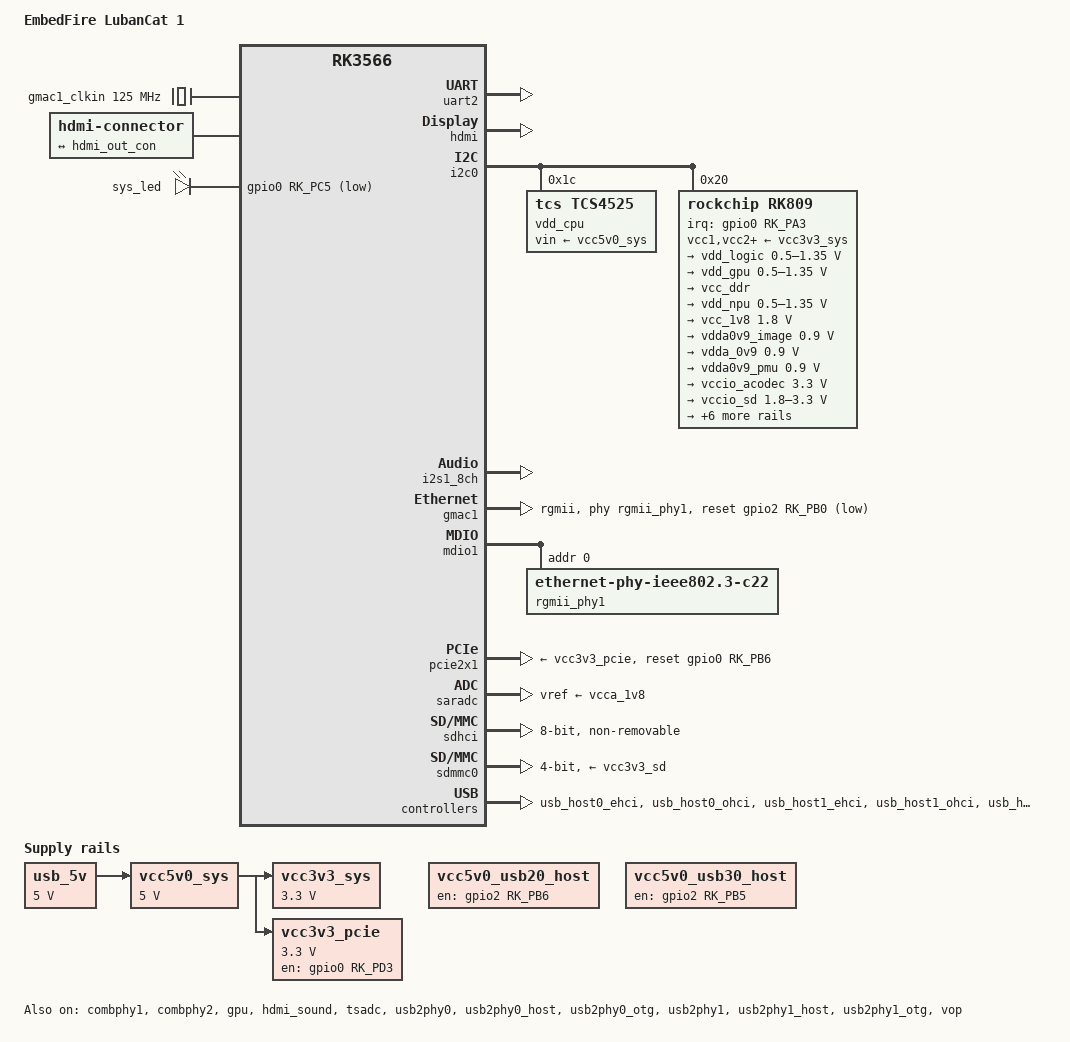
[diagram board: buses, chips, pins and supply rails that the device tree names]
// SPDX-License-Identifier: (GPL-2.0+ OR MIT)

/dts-v1/;
#include <dt-bindings/gpio/gpio.h>
#include <dt-bindings/leds/common.h>
#include <dt-bindings/pinctrl/rockchip.h>
#include <dt-bindings/soc/rockchip,vop2.h>
#include "rk3566.dtsi"

/ {
	model = "EmbedFire LubanCat 1";
	compatible = "embedfire,lubancat-1", "rockchip,rk3566";

	aliases {
		ethernet0 = &gmac1;
		mmc0 = &sdmmc0;
		mmc1 = &sdhci;
	};

	chosen: chosen {
		stdout-path = "serial2:1500000n8";
	};

	gmac1_clkin: external-gmac1-clock {
		compatible = "fixed-clock";
		clock-frequency = <125000000>;
		clock-output-names = "gmac1_clkin";
		#clock-cells = <0>;
	};

	hdmi-con {
		compatible = "hdmi-connector";
		type = "a";

		port {
			hdmi_con_in: endpoint {
				remote-endpoint = <&hdmi_out_con>;
			};
		};
	};

	gpio-leds {
		compatible = "gpio-leds";

		sys_led: sys-led {
			label = "sys_led";
			linux,default-trigger = "heartbeat";
			default-state = "on";
			gpios = <&gpio0 RK_PC5 GPIO_ACTIVE_LOW>;
			pinctrl-names = "default";
			pinctrl-0 = <&sys_led_pin>;
		};
	};

	usb_5v: usb-5v-regulator {
		compatible = "regulator-fixed";
		regulator-name = "usb_5v";
		regulator-always-on;
		regulator-boot-on;
		regulator-min-microvolt = <5000000>;
		regulator-max-microvolt = <5000000>;
	};

	vcc5v0_sys: vcc5v0-sys-regulator {
		compatible = "regulator-fixed";
		regulator-name = "vcc5v0_sys";
		regulator-always-on;
		regulator-boot-on;
		regulator-min-microvolt = <5000000>;
		regulator-max-microvolt = <5000000>;
		vin-supply = <&usb_5v>;
	};

	vcc3v3_sys: vcc3v3-sys-regulator {
		compatible = "regulator-fixed";
		regulator-name = "vcc3v3_sys";
		regulator-always-on;
		regulator-boot-on;
		regulator-min-microvolt = <3300000>;
		regulator-max-microvolt = <3300000>;
		vin-supply = <&vcc5v0_sys>;
	};

	vcc3v3_pcie: vcc3v3-pcie-regulator {
		compatible = "regulator-fixed";
		regulator-name = "vcc3v3_pcie";
		regulator-min-microvolt = <3300000>;
		regulator-max-microvolt = <3300000>;
		enable-active-high;
		gpio = <&gpio0 RK_PD3 GPIO_ACTIVE_HIGH>;
		startup-delay-us = <5000>;
		vin-supply = <&vcc5v0_sys>;
	};

	vcc5v0_usb20_host: vcc5v0-usb20-host-regulator {
		compatible = "regulator-fixed";
		enable-active-high;
		gpio = <&gpio2 RK_PB6 GPIO_ACTIVE_HIGH>;
		pinctrl-names = "default";
		pinctrl-0 = <&vcc5v0_usb20_host_en>;
		regulator-name = "vcc5v0_usb20_host";
		regulator-always-on;
	};

	vcc5v0_usb30_host: vcc5v0-usb30-host-regulator {
		compatible = "regulator-fixed";
		enable-active-high;
		gpio = <&gpio2 RK_PB5 GPIO_ACTIVE_HIGH>;
		pinctrl-names = "default";
		pinctrl-0 = <&vcc5v0_usb30_host_en>;
		regulator-name = "vcc5v0_usb30_host";
		regulator-always-on;
	};
};

&uart2 {
	status = "okay";
};

&combphy1 {
	status = "okay";
};

&combphy2 {
	status = "okay";
};

&cpu0 {
	cpu-supply = <&vdd_cpu>;
};

&cpu1 {
	cpu-supply = <&vdd_cpu>;
};

&cpu2 {
	cpu-supply = <&vdd_cpu>;
};

&cpu3 {
	cpu-supply = <&vdd_cpu>;
};

&gpu {
	mali-supply = <&vdd_gpu>;
	status = "okay";
};

&hdmi {
	avdd-0v9-supply = <&vdda0v9_image>;
	avdd-1v8-supply = <&vcca1v8_image>;
	status = "okay";
};

&hdmi_in {
	hdmi_in_vp0: endpoint {
		remote-endpoint = <&vp0_out_hdmi>;
	};
};

&hdmi_out {
	hdmi_out_con: endpoint {
		remote-endpoint = <&hdmi_con_in>;
	};
};

&hdmi_sound {
	status = "okay";
};

&i2c0 {
	status = "okay";

	vdd_cpu: regulator@1c {
		compatible = "tcs,tcs4525";
		reg = <0x1c>;
		fcs,suspend-voltage-selector = <1>;
		regulator-name = "vdd_cpu";
		regulator-always-on;
		regulator-boot-on;
		regulator-min-microvolt = <800000>;
		regulator-max-microvolt = <1150000>;
		regulator-ramp-delay = <2300>;
		vin-supply = <&vcc5v0_sys>;

		regulator-state-mem {
			regulator-off-in-suspend;
		};
	};

	rk809: pmic@20 {
		compatible = "rockchip,rk809";
		reg = <0x20>;
		interrupt-parent = <&gpio0>;
		interrupts = <RK_PA3 IRQ_TYPE_LEVEL_LOW>;
		clock-output-names = "rk808-clkout1", "rk808-clkout2";

		pinctrl-names = "default";
		pinctrl-0 = <&pmic_int>;
		rockchip,system-power-controller;
		wakeup-source;
		#clock-cells = <1>;

		vcc1-supply = <&vcc3v3_sys>;
		vcc2-supply = <&vcc3v3_sys>;
		vcc3-supply = <&vcc3v3_sys>;
		vcc4-supply = <&vcc3v3_sys>;
		vcc5-supply = <&vcc3v3_sys>;
		vcc6-supply = <&vcc3v3_sys>;
		vcc7-supply = <&vcc3v3_sys>;
		vcc8-supply = <&vcc3v3_sys>;
		vcc9-supply = <&vcc3v3_sys>;

		regulators {
			vdd_logic: DCDC_REG1 {
				regulator-name = "vdd_logic";
				regulator-always-on;
				regulator-boot-on;
				regulator-min-microvolt = <500000>;
				regulator-max-microvolt = <1350000>;
				regulator-ramp-delay = <6001>;
				regulator-initial-mode = <0x2>;

				regulator-state-mem {
					regulator-off-in-suspend;
				};
			};

			vdd_gpu: DCDC_REG2 {
				regulator-name = "vdd_gpu";
				regulator-always-on;
				regulator-boot-on;
				regulator-min-microvolt = <500000>;
				regulator-max-microvolt = <1350000>;
				regulator-ramp-delay = <6001>;
				regulator-initial-mode = <0x2>;

				regulator-state-mem {
					regulator-off-in-suspend;
				};
			};

			vcc_ddr: DCDC_REG3 {
				regulator-name = "vcc_ddr";
				regulator-always-on;
				regulator-boot-on;
				regulator-initial-mode = <0x2>;

				regulator-state-mem {
					regulator-on-in-suspend;
				};
			};

			vdd_npu: DCDC_REG4 {
				regulator-name = "vdd_npu";
				regulator-always-on;
				regulator-boot-on;
				regulator-min-microvolt = <500000>;
				regulator-max-microvolt = <1350000>;
				regulator-ramp-delay = <6001>;
				regulator-initial-mode = <0x2>;

				regulator-state-mem {
					regulator-off-in-suspend;
				};
			};

			vcc_1v8: DCDC_REG5 {
				regulator-name = "vcc_1v8";
				regulator-always-on;
				regulator-boot-on;
				regulator-min-microvolt = <1800000>;
				regulator-max-microvolt = <1800000>;

				regulator-state-mem {
					regulator-off-in-suspend;
				};
			};

			vdda0v9_image: LDO_REG1 {
				regulator-name = "vdda0v9_image";
				regulator-boot-on;
				regulator-always-on;
				regulator-min-microvolt = <900000>;
				regulator-max-microvolt = <900000>;

				regulator-state-mem {
					regulator-off-in-suspend;
				};
			};

			vdda_0v9: LDO_REG2 {
				regulator-name = "vdda_0v9";
				regulator-always-on;
				regulator-boot-on;
				regulator-min-microvolt = <900000>;
				regulator-max-microvolt = <900000>;

				regulator-state-mem {
					regulator-off-in-suspend;
				};
			};

			vdda0v9_pmu: LDO_REG3 {
				regulator-name = "vdda0v9_pmu";
				regulator-always-on;
				regulator-boot-on;
				regulator-min-microvolt = <900000>;
				regulator-max-microvolt = <900000>;

				regulator-state-mem {
					regulator-on-in-suspend;
					regulator-suspend-microvolt = <900000>;
				};
			};

			vccio_acodec: LDO_REG4 {
				regulator-name = "vccio_acodec";
				regulator-always-on;
				regulator-boot-on;
				regulator-min-microvolt = <3300000>;
				regulator-max-microvolt = <3300000>;

				regulator-state-mem {
					regulator-off-in-suspend;
				};
			};

			vccio_sd: LDO_REG5 {
				regulator-name = "vccio_sd";
				regulator-always-on;
				regulator-boot-on;
				regulator-min-microvolt = <1800000>;
				regulator-max-microvolt = <3300000>;

				regulator-state-mem {
					regulator-off-in-suspend;
				};
			};

			vcc3v3_pmu: LDO_REG6 {
				regulator-name = "vcc3v3_pmu";
				regulator-always-on;
				regulator-boot-on;
				regulator-min-microvolt = <3300000>;
				regulator-max-microvolt = <3300000>;

				regulator-state-mem {
					regulator-on-in-suspend;
					regulator-suspend-microvolt = <3300000>;
				};
			};

			vcca_1v8: LDO_REG7 {
				regulator-name = "vcca_1v8";
				regulator-always-on;
				regulator-boot-on;
				regulator-min-microvolt = <1800000>;
				regulator-max-microvolt = <1800000>;

				regulator-state-mem {
					regulator-off-in-suspend;
				};
			};

			vcca1v8_pmu: LDO_REG8 {
				regulator-name = "vcca1v8_pmu";
				regulator-always-on;
				regulator-boot-on;
				regulator-min-microvolt = <1800000>;
				regulator-max-microvolt = <1800000>;

				regulator-state-mem {
					regulator-on-in-suspend;
					regulator-suspend-microvolt = <1800000>;
				};
			};

			vcca1v8_image: LDO_REG9 {
				regulator-name = "vcca1v8_image";
				regulator-always-on;
				regulator-boot-on;
				regulator-min-microvolt = <1800000>;
				regulator-max-microvolt = <1800000>;

				regulator-state-mem {
					regulator-off-in-suspend;
				};
			};

			vcc_3v3: SWITCH_REG1 {
				regulator-name = "vcc_3v3";
				regulator-always-on;
				regulator-boot-on;

				regulator-state-mem {
					regulator-off-in-suspend;
				};
			};

			vcc3v3_sd: SWITCH_REG2 {
				regulator-name = "vcc3v3_sd";
				regulator-always-on;
				regulator-boot-on;

				regulator-state-mem {
					regulator-off-in-suspend;
				};
			};
		};
	};
};

&i2s1_8ch {
	rockchip,trcm-sync-tx-only;
	status = "okay";
};

&gmac1 {
	phy-mode = "rgmii";
	clock_in_out = "output";
	snps,reset-gpio = <&gpio2 RK_PB0 GPIO_ACTIVE_LOW>;
	snps,reset-active-low;
	/* Reset time is 75ms, 100ms */
	snps,reset-delays-us = <0 75000 100000>;
	assigned-clocks = <&cru SCLK_GMAC1_RX_TX>, <&cru SCLK_GMAC1>;
	assigned-clock-parents = <&cru SCLK_GMAC1_RGMII_SPEED>, <&cru CLK_MAC1_2TOP>;
	assigned-clock-rates = <0>, <125000000>;
	pinctrl-names = "default";
	pinctrl-0 = <&gmac1m1_miim
			&gmac1m1_tx_bus2_level3
			&gmac1m1_rx_bus2
			&gmac1m1_rgmii_clk_level2
			&gmac1m1_rgmii_bus_level3>;
	tx_delay = <0x1a>;
	rx_delay = <0x0c>;
	phy-handle = <&rgmii_phy1>;
	status = "okay";
};

&mdio1 {
	rgmii_phy1: phy@0 {
		compatible = "ethernet-phy-ieee802.3-c22";
		reg = <0x0>;
	};
};

&pcie2x1 {
	reset-gpios = <&gpio0 RK_PB6 GPIO_ACTIVE_HIGH>;
	disable-gpios = <&gpio0 RK_PA6 GPIO_ACTIVE_HIGH>;
	vpcie3v3-supply = <&vcc3v3_pcie>;
	status = "okay";
};

&pinctrl {
	leds {
		sys_led_pin: sys-status-led-pin {
			rockchip,pins = <0 RK_PC7 RK_FUNC_GPIO &pcfg_pull_none>;
		};
	};

	usb {
		vcc5v0_usb20_host_en: vcc5v0-usb20-host-en {
			rockchip,pins = <2 RK_PB6 RK_FUNC_GPIO &pcfg_pull_none>;
		};

		vcc5v0_usb30_host_en: vcc5v0-usb30-host-en {
			rockchip,pins = <2 RK_PB5 RK_FUNC_GPIO &pcfg_pull_none>;
		};
	};

	pmic {
		pmic_int: pmic_int {
			rockchip,pins =
				<0 RK_PA3 RK_FUNC_GPIO &pcfg_pull_up>;
		};
	};
};

&pmu_io_domains {
	pmuio2-supply = <&vcc3v3_pmu>;
	vccio1-supply = <&vccio_acodec>;
	vccio3-supply = <&vccio_sd>;
	vccio4-supply = <&vcc_3v3>;
	vccio5-supply = <&vcc_3v3>;
	vccio6-supply = <&vcc_1v8>;
	vccio7-supply = <&vcc_3v3>;
	status = "okay";
};

&saradc {
	vref-supply = <&vcca_1v8>;
	status = "okay";
};

&tsadc {
	rockchip,hw-tshut-mode = <1>;
	rockchip,hw-tshut-polarity = <0>;
	status = "okay";
};

&sdhci {
	assigned-clocks = <&cru BCLK_EMMC>, <&cru TCLK_EMMC>, <&cru CCLK_EMMC>;
	assigned-clock-rates = <200000000>, <24000000>, <200000000>;
	bus-width = <8>;
	max-frequency = <200000000>;
	mmc-hs200-1_8v;
	non-removable;
	pinctrl-names = "default";
	pinctrl-0 = <&emmc_bus8 &emmc_clk &emmc_cmd>;
	supports-emmc;
	status = "okay";
};

&sdmmc0 {
	max-frequency = <150000000>;
	supports-sd;
	bus-width = <4>;
	cap-mmc-highspeed;
	cap-sd-highspeed;
	disable-wp;
	sd-uhs-sdr104;
	vmmc-supply = <&vcc3v3_sd>;
	vqmmc-supply = <&vccio_sd>;
	pinctrl-names = "default";
	pinctrl-0 = <&sdmmc0_bus4 &sdmmc0_clk &sdmmc0_cmd &sdmmc0_det>;
	status = "okay";
};

/* USB OTG/USB Host_1 USB 2.0 Comb */
&usb2phy0 {
	status = "okay";
};

&usb2phy0_host {
	status = "okay";
};

&usb2phy0_otg {
	status = "okay";
};

&usb_host0_ehci {
	status = "okay";
};

&usb_host0_ohci {
	status = "okay";
};

/* USB Host_2/USB Host_3 USB 2.0 Comb */
&usb2phy1 {
	status = "okay";
};

&usb2phy1_host {
	status = "okay";
};

&usb2phy1_otg {
	status = "okay";
};

&usb_host1_ehci {
	status = "okay";
};

&usb_host1_ohci {
	status = "okay";
};

/* USB3.0 Host */
&usb_host1_xhci {
	status = "okay";
};

&vop {
	assigned-clocks = <&cru DCLK_VOP0>, <&cru DCLK_VOP1>;
	assigned-clock-parents = <&pmucru PLL_HPLL>, <&cru PLL_VPLL>;
	status = "okay";
};

&vop_mmu {
	status = "okay";
};

&vp0 {
	vp0_out_hdmi: endpoint@ROCKCHIP_VOP2_EP_HDMI0 {
		reg = <ROCKCHIP_VOP2_EP_HDMI0>;
		remote-endpoint = <&hdmi_in_vp0>;
	};
};
